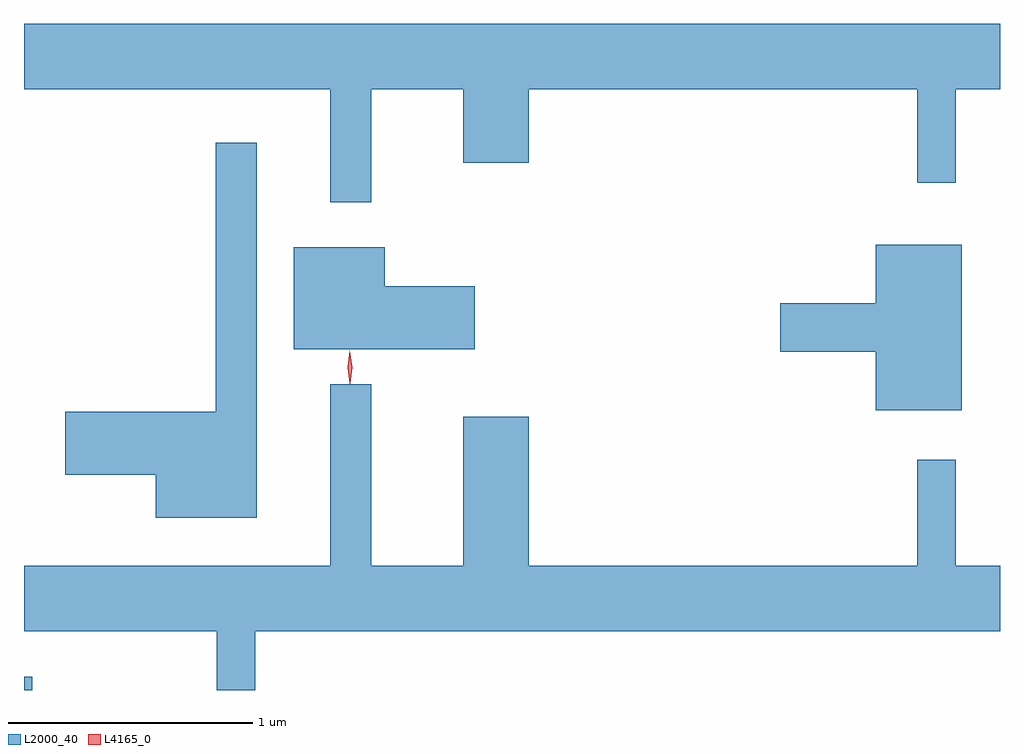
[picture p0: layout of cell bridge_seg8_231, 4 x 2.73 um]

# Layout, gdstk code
import gdstk
lib = gdstk.Library(unit=1e-6, precision=1e-09)
def R(c, l, rs):  # rectangles x0, y0, x1, y1
    for r in rs: c.add(gdstk.rectangle(r[:2], r[2:], *l))
def P(c, l, *ps):  # polygons
    for p in ps: c.add(gdstk.Polygon(p, *l))
L2000_40 = (2000, 40)
L4165_0 = (4165, 0)

bridge_seg8_231 = lib.new_cell('bridge_seg8_231')
R(bridge_seg8_231, L2000_40, [(1152.336,1873.914,1152.369,1873.968)])
P(bridge_seg8_231, L2000_40, [(1153.759,1876.376),(1154.136,1876.376),(1154.136,1876.076),(1154.404,1876.076),(1154.404,1876.376),(1155.996,1876.376),(1155.996,1875.993),(1156.154,1875.993),(1156.154,1876.376),(1156.336,1876.376),(1156.336,1876.644),(1152.336,1876.644),(1152.336,1876.376),(1153.591,1876.376),(1153.591,1875.913),(1153.759,1875.913)],
  [(1153.289,1876.158),(1153.121,1876.158),(1153.121,1875.054),(1152.506,1875.054),(1152.506,1874.796),(1152.876,1874.796),(1152.876,1874.621),(1153.289,1874.621)],
  [(1156.179,1875.739),(1155.826,1875.739),(1155.826,1875.499),(1155.436,1875.499),(1155.436,1875.301),(1155.826,1875.301),(1155.826,1875.061),(1156.179,1875.061)],
  [(1154.184,1875.569),(1153.814,1875.569),(1153.814,1875.729),(1153.441,1875.729),(1153.441,1875.311),(1154.184,1875.311)],
  [(1152.336,1874.156),(1153.126,1874.156),(1153.126,1873.914),(1153.284,1873.914),(1153.284,1874.156),(1156.336,1874.156),(1156.336,1874.424),(1156.154,1874.424),(1156.154,1874.858),(1155.996,1874.858),(1155.996,1874.424),(1154.404,1874.424),(1154.404,1875.034),(1154.136,1875.034),(1154.136,1874.424),(1153.759,1874.424),(1153.759,1875.168),(1153.591,1875.168),(1153.591,1874.424),(1152.336,1874.424)])
P(bridge_seg8_231, L4165_0, [(1153.672,1875.173),(1153.672,1875.174),(1153.662,1875.236),(1153.671,1875.299),(1153.672,1875.3),(1153.672,1875.299),(1153.682,1875.236),(1153.673,1875.174)],
  [(1153.672,1875.17),(1153.672,1875.17),(1153.662,1875.238),(1153.671,1875.305),(1153.671,1875.306),(1153.672,1875.305),(1153.682,1875.238),(1153.673,1875.17)])

lib.write_gds('bridge_seg8_231.gds')
